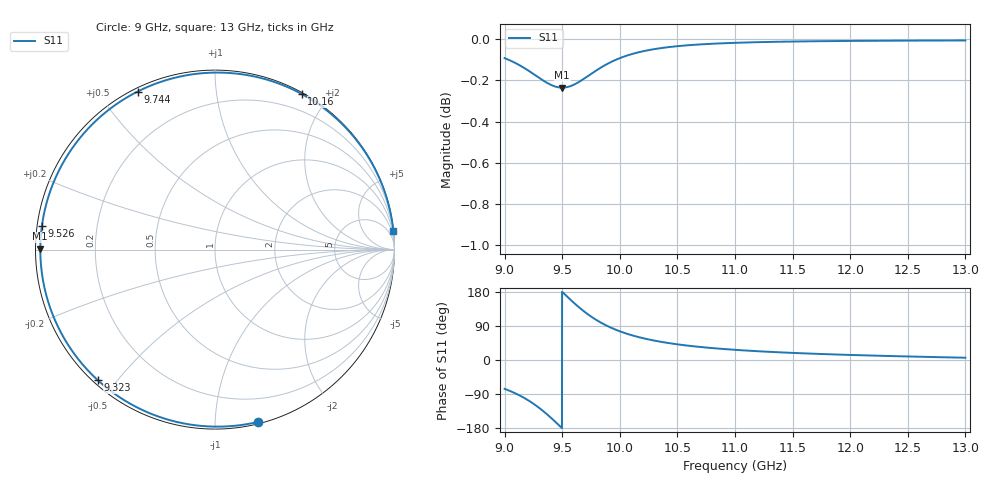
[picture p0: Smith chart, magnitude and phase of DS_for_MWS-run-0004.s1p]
! TOUCHSTONE file generated by CST DESIGN STUDIO
! Date and time: Tue Feb  4 13:00:59 2025
! Project name: C:\Work\MatlabApps\UnitCellOptimizationMatlab\CST\unitcell.cst
! Tree item: Tasks\Sweep1\SPara1\S-Parameters
! Header version: 2024
! Port assignment regex: !\s*Touchstone port\s*([0-9]+)\s*=\s*(CST MWS port|CST DES external port|CST DES block port)\s*(.+)\s* \(\"(.*)\"\)(\s*mode\s*([0-9]+))?.*
! Touchstone port assignment:
! Touchstone port 1 = CST DES external port 1 ("")
# GHz S MA R 50
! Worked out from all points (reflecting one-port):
!   4001 points, 9 GHz to 13 GHz, reference 50 ohm
!   lowest |S11| = -0.2 dB at 9.5 GHz (marker M1), VSWR 73.86, Z = 0.677 + j0.14 ohm
!   phase of S11 starts at -76 deg and turns -278 deg over the sweep
!   S11 on the Smith chart (normalised r, x): 9 GHz: 0.01, -1.28; 9.323 GHz: 0.01, -0.45; 9.526 GHz: 0.01, +0.07; 9.744 GHz: 0.01, +0.62; 10.16 GHz: 0.01, +1.70; 13 GHz: 0, +19
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9  0.9895 -76.1
9.085  0.9871 -86.8
9.186  0.9834 -102.9
9.257  0.9805 -116.8
9.323  0.9777 -131.8
9.37  0.9758 -143.7
9.42  0.9743 -157.3
9.461  0.9735 -169.0
9.5  0.9733 179.7
9.526  0.9734 172.1
9.58  0.9743 156.7
9.64  0.9762 140.5
9.691  0.9782 127.9
9.744  0.9805 116.1
9.796  0.9827 105.7
9.854  0.985 95.6
9.926  0.9874 84.9
10  0.9895 75.7
10.076  0.9912 67.9
10.158  0.9927 60.8
10.313  0.9946 50.4
10.5  0.9961 41.4
10.722  0.9972 33.7
11  0.998 26.8
11.5  0.9987 18.7
12  0.9991 13.3
12.5  0.9992 9.3
13  0.9993 6.0
